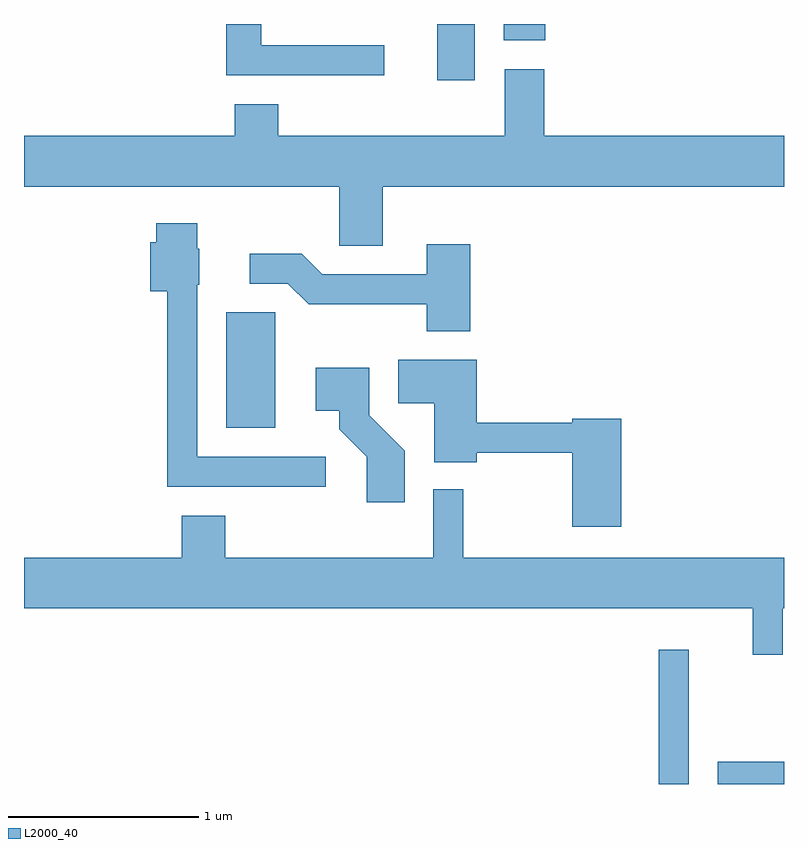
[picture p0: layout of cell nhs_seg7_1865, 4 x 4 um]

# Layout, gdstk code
import gdstk
lib = gdstk.Library(unit=1e-6, precision=1e-09)
def R(c, l, rs):  # rectangles x0, y0, x1, y1
    for r in rs: c.add(gdstk.rectangle(r[:2], r[2:], *l))
def P(c, l, *ps):  # polygons
    for p in ps: c.add(gdstk.Polygon(p, *l))
L2000_40 = (2000, 40)

nhs_seg7_1865 = lib.new_cell('nhs_seg7_1865')
R(nhs_seg7_1865, L2000_40, [(244.951,1742.252,245.109,1742.958), (245.261,1742.252,245.611,1742.369), (242.676,1744.126,242.934,1744.734), (243.786,1745.956,243.984,1746.252), (244.136,1746.166,244.354,1746.252)])
P(nhs_seg7_1865, L2000_40, [(243.508,1746.139),(242.859,1746.139),(242.859,1746.252),(242.676,1746.252),(242.676,1745.981),(243.508,1745.981)],
  [(243.499,1745.396),(245.611,1745.396),(245.611,1745.664),(244.349,1745.664),(244.349,1746.014),(244.141,1746.014),(244.141,1745.664),(242.949,1745.664),(242.949,1745.829),(242.721,1745.829),(242.721,1745.664),(241.611,1745.664),(241.611,1745.396),(243.271,1745.396),(243.271,1745.086),(243.499,1745.086)],
  [(243.198,1743.974),(242.524,1743.974),(242.524,1744.88),(242.534,1744.88),(242.534,1745.07),(242.524,1745.07),(242.524,1745.204),(242.306,1745.204),(242.306,1745.104),(242.276,1745.104),(242.276,1744.846),(242.366,1744.846),(242.366,1743.816),(243.198,1743.816)],
  [(243.959,1745.094),(243.731,1745.094),(243.731,1744.934),(243.182,1744.934),(243.072,1745.044),(242.798,1745.044),(242.798,1744.886),(242.999,1744.886),(243.109,1744.776),(243.731,1744.776),(243.731,1744.636),(243.959,1744.636)],
  [(244.754,1744.174),(244.496,1744.174),(244.496,1744.154),(243.994,1744.154),(243.994,1744.484),(243.581,1744.484),(243.581,1744.256),(243.771,1744.256),(243.771,1743.946),(243.994,1743.946),(243.994,1743.996),(244.496,1743.996),(244.496,1743.606),(244.754,1743.606)],
  [(243.614,1744.007),(243.429,1744.192),(243.429,1744.444),(243.146,1744.444),(243.146,1744.216),(243.271,1744.216),(243.271,1744.119),(243.416,1743.974),(243.416,1743.736),(243.614,1743.736)],
  [(245.604,1743.176),(245.611,1743.176),(245.611,1743.444),(243.924,1743.444),(243.924,1743.803),(243.766,1743.803),(243.766,1743.444),(242.669,1743.444),(242.669,1743.664),(242.441,1743.664),(242.441,1743.444),(241.611,1743.444),(241.611,1743.176),(245.446,1743.176),(245.446,1742.933),(245.604,1742.933)])

lib.write_gds('nhs_seg7_1865.gds')
